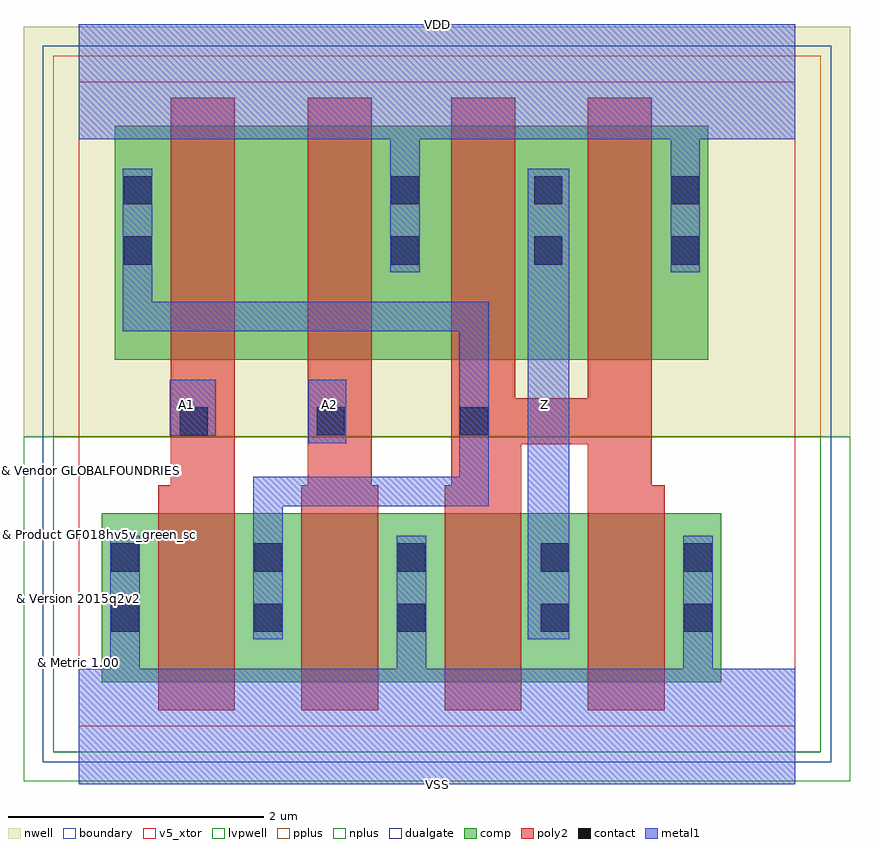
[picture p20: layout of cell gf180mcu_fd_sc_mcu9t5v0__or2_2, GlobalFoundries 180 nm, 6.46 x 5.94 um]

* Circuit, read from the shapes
.subckt gf180mcu_fd_sc_mcu9t5v0__or2_2 A1 A2 VDD VSS Z
XM1 n1 A1 VSS VSUBS nfet_05v0 w=1.32u l=0.6u
XM2 VSS A2 n1 VSUBS nfet_05v0 w=1.32u l=0.6u
XM3 Z n1 VSS VSUBS nfet_05v0 w=1.32u l=0.6u m=2
XM4 n2 A1 n1 n3 pfet_05v0 w=1.83u l=0.5u
XM5 VDD A2 n2 n3 pfet_05v0 w=1.83u l=0.5u
XM6 Z n1 VDD n3 pfet_05v0 w=1.83u l=0.5u m=2
.ends

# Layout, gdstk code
import gdstk
lib = gdstk.Library(unit=1e-6, precision=1e-09)
def R(c, l, rs):  # rectangles x0, y0, x1, y1
    for r in rs: c.add(gdstk.rectangle(r[:2], r[2:], *l))
def A(c, l, x, y, w, h, nx, ny, dx, dy):  # array of equal rectangles
    R(c, l, [(x+i*dx, y+j*dy, x+i*dx+w, y+j*dy+h) for i in range(nx) for j in range(ny)])
def P(c, l, *ps):  # polygons
    for p in ps: c.add(gdstk.Polygon(p, *l))
boundary = (0, 0)
nwell = (21, 0)
comp = (22, 0)
poly2 = (30, 0)
pplus = (31, 0)
nplus = (32, 0)
contact = (33, 0)
metal1 = (34, 0)
dualgate = (55, 0)
v5_xtor = (112, 1)
lvpwell = (204, 0)

gf180mcu_fd_sc_mcu9t5v0_ = lib.new_cell('gf180mcu_fd_sc_mcu9t5v0__or2_2')
R(gf180mcu_fd_sc_mcu9t5v0_, boundary, [(0,0,5.6,5.04)])
R(gf180mcu_fd_sc_mcu9t5v0_, nwell, [(-0.43,2.265,6.03,5.47)])
R(gf180mcu_fd_sc_mcu9t5v0_, comp, [(0.18,0.345,5.02,1.665), (0.28,2.865,4.92,4.695)])
P(gf180mcu_fd_sc_mcu9t5v0_, poly2, [(0.62,0.125),(0.62,1.885),(0.72,1.885),(0.72,4.915),(1.22,4.915),(1.22,0.125)],
  [(1.74,0.125),(1.74,1.885),(1.79,1.885),(1.79,4.915),(2.29,4.915),(2.29,1.885),(2.34,1.885),(2.34,0.125)],
  [(2.86,0.125),(2.86,1.885),(2.91,1.885),(2.91,4.915),(3.41,4.915),(3.41,2.565),(3.98,2.565),(3.98,4.915),(4.48,4.915),(4.48,1.885),(4.58,1.885),(4.58,0.125),(3.98,0.125),(3.98,2.205),(3.46,2.205),(3.46,0.125)])
R(gf180mcu_fd_sc_mcu9t5v0_, pplus, [(-0.2,2.265,5.8,5.24)])
R(gf180mcu_fd_sc_mcu9t5v0_, nplus, [(-0.2,-0.2,5.8,2.265)])
A(gf180mcu_fd_sc_mcu9t5v0_, contact, 0.25, 0.74, 0.22, 0.22, 5, 2, 1.12, 0.47)
R(gf180mcu_fd_sc_mcu9t5v0_, contact, [(0.79,2.275,1.01,2.495), (1.86,2.275,2.08,2.495), (2.98,2.275,3.2,2.495), (0.35,3.61,0.57,3.83), (2.44,3.61,2.66,3.83), (3.56,3.61,3.78,3.83), (4.63,3.61,4.85,3.83), (0.35,4.08,0.57,4.3), (2.44,4.08,2.66,4.3), (3.56,4.08,3.78,4.3), (4.63,4.08,4.85,4.3)])
R(gf180mcu_fd_sc_mcu9t5v0_, metal1, [(3.51,0.68,3.835,4.36), (1.795,2.215,2.09,2.71), (0.71,2.27,1.07,2.71)])
P(gf180mcu_fd_sc_mcu9t5v0_, metal1, [(1.365,0.68),(1.365,1.95),(2.975,1.95),(2.975,3.09),(0.345,3.09),(0.345,4.36),(0.575,4.36),(0.575,3.32),(3.205,3.32),(3.205,1.72),(1.595,1.72),(1.595,0.68)],
  [(0,-0.45),(0,0.45),(0.245,0.45),(0.245,1.49),(0.475,1.49),(0.475,0.45),(2.485,0.45),(2.485,1.49),(2.715,1.49),(2.715,0.45),(4.725,0.45),(4.725,1.49),(4.955,1.49),(4.955,0.45),(5.6,0.45),(5.6,-0.45)],
  [(2.435,3.55),(2.435,4.59),(0,4.59),(0,5.49),(5.6,5.49),(5.6,4.59),(4.855,4.59),(4.855,3.55),(4.625,3.55),(4.625,4.59),(2.665,4.59),(2.665,3.55)])
R(gf180mcu_fd_sc_mcu9t5v0_, dualgate, [(-0.28,-0.28,5.88,5.32)])
R(gf180mcu_fd_sc_mcu9t5v0_, v5_xtor, [(0,0,5.6,5.04)])
R(gf180mcu_fd_sc_mcu9t5v0_, lvpwell, [(-0.43,-0.43,6.03,2.265)])
gf180mcu_fd_sc_mcu9t5v0_.add(gdstk.Label('A1', (0.84,2.52), layer=34, texttype=10))
gf180mcu_fd_sc_mcu9t5v0_.add(gdstk.Label('A2', (1.96,2.52), layer=34, texttype=10))
gf180mcu_fd_sc_mcu9t5v0_.add(gdstk.Label('VDD', (2.8,5.49), layer=34, texttype=10))
gf180mcu_fd_sc_mcu9t5v0_.add(gdstk.Label('VSS', (2.8,-0.45), layer=34, texttype=10))
gf180mcu_fd_sc_mcu9t5v0_.add(gdstk.Label('Z', (3.64,2.52), layer=34, texttype=10))
gf180mcu_fd_sc_mcu9t5v0_.add(gdstk.Label('& Vendor GLOBALFOUNDRIES', (0,2), layer=63, texttype=63))
gf180mcu_fd_sc_mcu9t5v0_.add(gdstk.Label('& Product GF018hv5v_green_sc9', (0,1.5), layer=63, texttype=63))
gf180mcu_fd_sc_mcu9t5v0_.add(gdstk.Label('& Version 2015q2v2', (0,1), layer=63, texttype=63))
gf180mcu_fd_sc_mcu9t5v0_.add(gdstk.Label('& Metric 1.00', (0,0.5), layer=63, texttype=63))

lib.write_gds('gf180mcu_fd_sc_mcu9t5v0__or2_2.gds')
